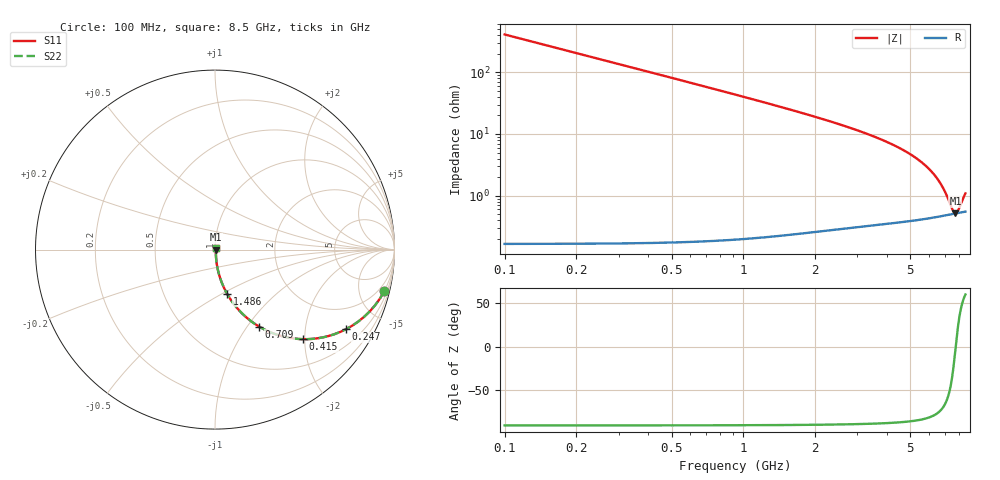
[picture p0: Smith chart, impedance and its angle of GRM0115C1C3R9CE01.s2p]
!Murata Part Number: GRM0115C1C3R9CE01
!These Parameters are Measured in Series Mode Connection
!Data Generated on Mar 30, 2021
!  o--ll--o
!Port1  Port2
!  o------o
!Operation Temp=25[degC], DC Bias Voltage=0[V]
!Freq. Start=100[MHz] Stop=9[GHz] 401[Steps]
# Hz S RI R 50
!Freq.(Hz) S11(Real) S11(Imag) S21(Real) S21(Imag) S12(Real) S12(Imag) S22(Real) S22(Imag)
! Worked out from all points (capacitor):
!   401 points, 100 MHz to 8.5 GHz, reference 50 ohm
!   read as one part in series: C = 3.9 pF near 142 MHz
!   lowest |Z| = 518 mohm at 7.723 GHz (marker M1)
!   series resonance near 7.742 GHz, so ESL is about 110 pH
!   S11 on the Smith chart (normalised r, x): 100 MHz: 1.00, -8.16; 247 MHz: 1.00, -3.30; 415 MHz: 1.00, -1.96; 709 MHz: 1.00, -1.14; 1.486 GHz: 1.00, -0.53; 8.5 GHz: 1.01, +0.02
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1e8  0.9433 -0.2312  0.0567 0.2312  0.0567 0.2312  0.9433 -0.2312
1.84e8  0.8307 -0.3747  0.1693 0.3747  0.1693 0.3747  0.8307 -0.3747
2.47e8  0.7312 -0.4428  0.2688 0.4428  0.2688 0.4428  0.7312 -0.4428
3.31e8  0.6021 -0.4888  0.3979 0.4888  0.3979 0.4888  0.6021 -0.4888
4.15e8  0.49 -0.499  0.51 0.499  0.51 0.499  0.49 -0.499
5.62e8  0.3429 -0.4735  0.6571 0.4735  0.6571 0.4735  0.3429 -0.4735
7.09e8  0.2461 -0.4291  0.7539 0.4291  0.7539 0.4291  0.2461 -0.4291
8.56e8  0.1821 -0.3839  0.8179 0.3839  0.8179 0.3839  0.1821 -0.3839
1.024e9  0.1338 -0.3379  0.8662 0.3379  0.8662 0.3379  0.1338 -0.3379
1.486e9  0.0668 -0.2454  0.9332 0.2454  0.9332 0.2454  0.0668 -0.2454
1.507e9  0.065 -0.2422  0.935 0.2422  0.935 0.2422  0.065 -0.2422
2.116e9  0.0329 -0.1711  0.9671 0.1711  0.9671 0.1711  0.0329 -0.1711
2.914e9  0.0169 -0.1169  0.9831 0.1169  0.9831 0.1169  0.0169 -0.1169
4.3e9  0.00775 -0.0641  0.9922 0.0641  0.9922 0.0641  0.00775 -0.0641
5.707e9  0.00519 -0.0317  0.9948 0.0317  0.9948 0.0317  0.00519 -0.0317
6.505e9  0.00486 -0.0178  0.9951 0.0178  0.9951 0.0178  0.00486 -0.0178
6.82e9  0.00486 -0.0129  0.9951 0.0129  0.9951 0.0129  0.00486 -0.0129
7.114e9  0.00491 -0.00858  0.9951 0.00858  0.9951 0.00858  0.00491 -0.00858
7.534e9  0.00506 -0.00275  0.9949 0.00275  0.9949 0.00275  0.00506 -0.00275
7.723e9  0.00515 -0.000251  0.9948 0.000251  0.9948 0.000251  0.00515 -0.000251
7.912e9  0.00525 0.00218  0.9948 -0.00218  0.9948 -0.00218  0.00525 0.00218
8.5e9  0.0056 0.00932  0.9944 -0.00932  0.9944 -0.00932  0.0056 0.00932
